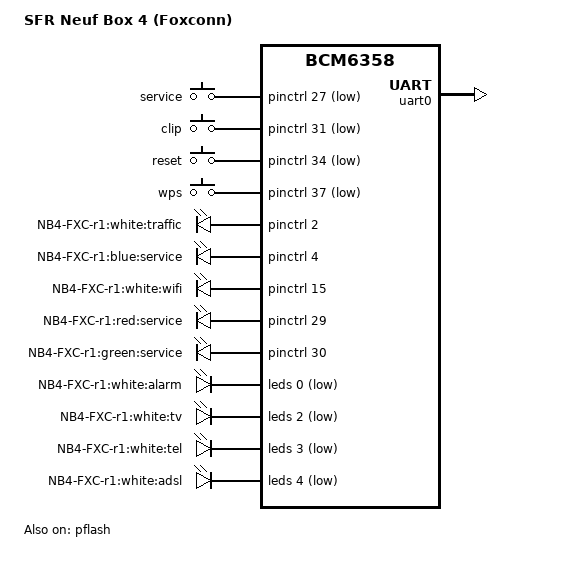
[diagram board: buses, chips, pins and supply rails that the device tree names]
/dts-v1/;

#include "bcm6358.dtsi"

#include <dt-bindings/input/input.h>

/ {
	model = "SFR Neuf Box 4 (Foxconn)";
	compatible = "sfr,nb4-fxc-r1", "brcm,bcm6358";

	chosen {
		bootargs = "rootfstype=squashfs,jffs2 noinitrd console=ttyS0,115200";
		stdout-path = "serial0:115200n8";
	};

	gpio-keys-polled {
		compatible = "gpio-keys-polled";
		#address-cells = <1>;
		#size-cells = <0>;
		poll-interval = <20>;
		debounce-interval = <60>;

		service {
			label = "service";
			gpios = <&pinctrl 27 1>;
			linux,code = <BTN_0>;
		};
		clip {
			label = "clip";
			gpios = <&pinctrl 31 1>;
			linux,code = <BTN_1>;
		};
		reset {
			label = "reset";
			gpios = <&pinctrl 34 1>;
			linux,code = <KEY_RESTART>;
		};
		wps {
			label = "wps";
			gpios = <&pinctrl 37 1>;
			linux,code = <KEY_WPS_BUTTON>;
		};
	};

	gpio-leds {
		compatible = "gpio-leds";

		traffic_white {
			label = "NB4-FXC-r1:white:traffic";
			gpios = <&pinctrl 2 0>;
		};
		service_blue {
			label = "NB4-FXC-r1:blue:service";
			gpios = <&pinctrl 4 0>;
		};
		wifi_white {
			label = "NB4-FXC-r1:white:wifi";
			gpios = <&pinctrl 15 0>;
		};
		service_red {
			label = "NB4-FXC-r1:red:service";
			gpios = <&pinctrl 29 0>;
		};
		service_green {
			label = "NB4-FXC-r1:green:service";
			gpios = <&pinctrl 30 0>;
		};
	};
};

&leds {
	status = "ok";

	pinctrl-names = "default";
	pinctrl-0 = <&pinctrl_serial_led>;

	led@0 {
		reg = <0>;
		active-low;
		label = "NB4-FXC-r1:white:alarm";
	};

	led@2 {
		reg = <2>;
		active-low;
		label = "NB4-FXC-r1:white:tv";
	};

	led@3 {
		reg = <3>;
		active-low;
		label = "NB4-FXC-r1:white:tel";
	};

	led@4 {
		reg = <4>;
		active-low;
		label = "NB4-FXC-r1:white:adsl";
	};
};

&pflash {
	status = "ok";

	linux,part-probe = "bcm63xxpart";

	partitions {
		compatible = "brcm,bcm963xx-cfe-nor-partitions";
	};
};

&uart0 {
	status = "ok";
};
